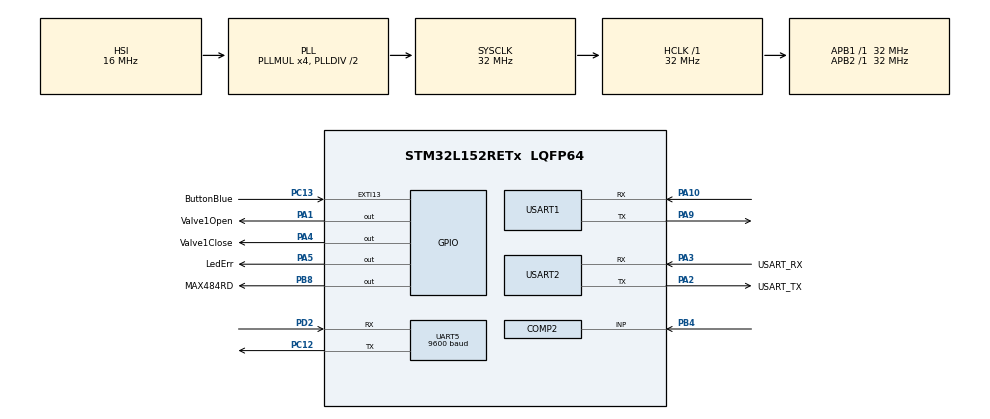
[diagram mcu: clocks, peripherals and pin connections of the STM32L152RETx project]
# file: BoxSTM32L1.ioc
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COMP1.NonInvertingInputPull=COMP_NONINVERTINGINPUT_NOPULL
COMP1.TriggerMode=COMP_TRIGGERMODE_IT_RISING
COMP2.InvertingInput=COMP_INVERTINGINPUT_1_2VREFINT
COMP2.TriggerMode=COMP_TRIGGERMODE_IT_RISING_FALLING
Dma.Request0=USART1_RX
Dma.USART1_RX.0.Direction=DMA_PERIPH_TO_MEMORY
Dma.USART1_RX.0.Instance=DMA1_Channel5
Dma.USART1_RX.0.MemDataAlignment=DMA_MDATAALIGN_BYTE
Dma.USART1_RX.0.MemInc=DMA_MINC_ENABLE
Dma.USART1_RX.0.Mode=DMA_CIRCULAR
Dma.USART1_RX.0.PeriphDataAlignment=DMA_PDATAALIGN_BYTE
Dma.USART1_RX.0.PeriphInc=DMA_PINC_DISABLE
Dma.USART1_RX.0.Priority=DMA_PRIORITY_VERY_HIGH
Mcu.Family=STM32L1
Mcu.Name=STM32L152RETx
Mcu.Package=LQFP64
NVIC.COMP_IRQn=true\:0\:0\:false\:false\:true
NVIC.DMA1_Channel5_IRQn=true\:0\:0\:false\:false\:true
NVIC.EXTI15_10_IRQn=true\:4\:0\:true\:false\:true
NVIC.PriorityGroup=NVIC_PRIORITYGROUP_4
NVIC.TIM2_IRQn=true\:3\:0\:true\:false\:true
NVIC.USART1_IRQn=true\:0\:0\:false\:false\:true
PA1.GPIO_Label=Valve1Open
PA1.GPIO_PuPd=GPIO_PULLDOWN
PA1.Signal=GPIO_Output
PA10.Mode=Asynchronous
PA10.Signal=USART1_RX
PA13.GPIO_Label=TMS
PA13.Signal=SYS_JTMS-SWDIO
PA14.GPIO_Label=TCK
PA14.Signal=SYS_JTCK-SWCLK
PA2.GPIO_Label=USART_TX
PA2.Mode=Asynchronous
PA2.Signal=USART2_TX
PA3.GPIO_Label=USART_RX
PA3.Mode=Asynchronous
PA3.Signal=USART2_RX
PA4.GPIO_Label=Valve1Close
PA4.GPIO_PuPd=GPIO_PULLDOWN
PA4.Signal=GPIO_Output
PA5.GPIO_Label=LedErr
PA5.Signal=GPIO_Output
PA9.Mode=Asynchronous
PA9.Signal=USART1_TX
PB3.GPIO_Label=SWO
PB3.Signal=SYS_JTDO-TRACESWO
PB4.Mode=INP
PB4.Signal=COMP2_INP
PB8.GPIO_Label=MAX484RD
PB8.GPIO_PuPd=GPIO_PULLDOWN
PB8.Signal=GPIO_Output
PC12.Mode=Asynchronous
PC12.Signal=UART5_TX
PC13-WKUP2.GPIO_Label=ButtonBlue
PC13-WKUP2.Signal=GPXTI13
PC14-OSC32_IN.Signal=RCC_OSC32_IN
PC15-OSC32_OUT.Signal=RCC_OSC32_OUT
PD2.Mode=Asynchronous
PD2.Signal=UART5_RX
PH0-OSC_IN.Signal=RCC_OSC_IN
PH1-OSC_OUT.Signal=RCC_OSC_OUT
ProjectManager.HeapSize=0x200
ProjectManager.StackSize=0x400
ProjectManager.TargetToolchain=SW4STM32
RCC.AHBFreq_Value=32000000
RCC.APB1Freq_Value=32000000
RCC.APB1TimFreq_Value=32000000
RCC.APB2Freq_Value=32000000
RCC.APB2TimFreq_Value=32000000
RCC.HCLKFreq_Value=32000000
RCC.HSE_VALUE=8000000
RCC.HSI_VALUE=16000000
RCC.LSE_VALUE=32768
RCC.MSI_VALUE=2097000
RCC.PLLMUL=RCC_PLL_MUL4
RCC.PLLSourceVirtual=RCC_PLLSOURCE_HSI
RCC.RTCClockSelectionVirtual=RCC_RTCCLKSOURCE_LSE
RCC.SYSCLKFreq_VALUE=32000000
RCC.SYSCLKSource=RCC_SYSCLKSOURCE_PLLCLK
RCC.USBOutput=32000000
RCC.VCOOutputFreq_Value=64000000
TIM2.Period=5000
TIM2.Prescaler=32000
UART5.BaudRate=9600
UART5.Parity=PARITY_EVEN
UART5.VirtualMode=Asynchronous
USART1.VirtualMode=VM_ASYNC
USART2.VirtualMode=VM_ASYNC
VP_COMP1_VS_WindowMode.Mode=WindowMode
VP_COMP2_VS_VREFINT12.Mode=VREFINT_12
VP_CRC_VS_CRC.Mode=CRC_Activate
VP_TIM2_VS_ClockSourceINT.Mode=Internal
board=NUCLEO-L152RE

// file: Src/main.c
// This is an independent project of an individual developer. Dear PVS-Studio, please check it.
// PVS-Studio Static Code Analyzer for C, C++ and C#: http://www.viva64.com

/**
 ******************************************************************************
 * File Name          : main.c
 * Description        : Main program body
 ******************************************************************************
 ** This notice applies to any and all portions of this file
 * that are not between comment pairs USER CODE BEGIN and
 * USER CODE END. Other portions of this file, whether
 * inserted by the user or by software development tools
 * are owned by their respective copyright owners.
 *
 * COPYRIGHT(c) 2017 STMicroelectronics
 *
 * Redistribution and use in source and binary forms, with or without modification,
 * are permitted provided that the following conditions are met:
 *   1. Redistributions of source code must retain the above copyright notice,
 *      this list of conditions and the following disclaimer.
 *   2. Redistributions in binary form must reproduce the above copyright notice,
 *      this list of conditions and the following disclaimer in the documentation
 *      and/or other materials provided with the distribution.
 *   3. Neither the name of STMicroelectronics nor the names of its contributors
 *      may be used to endorse or promote products derived from this software
 *      without specific prior written permission.
 *
 * THIS SOFTWARE IS PROVIDED BY THE COPYRIGHT HOLDERS AND CONTRIBUTORS "AS IS"
 * AND ANY EXPRESS OR IMPLIED WARRANTIES, INCLUDING, BUT NOT LIMITED TO, THE
 * IMPLIED WARRANTIES OF MERCHANTABILITY AND FITNESS FOR A PARTICULAR PURPOSE ARE
 * DISCLAIMED. IN NO EVENT SHALL THE COPYRIGHT HOLDER OR CONTRIBUTORS BE LIABLE
 * FOR ANY DIRECT, INDIRECT, INCIDENTAL, SPECIAL, EXEMPLARY, OR CONSEQUENTIAL
 * DAMAGES (INCLUDING, BUT NOT LIMITED TO, PROCUREMENT OF SUBSTITUTE GOODS OR
 * SERVICES; LOSS OF USE, DATA, OR PROFITS; OR BUSINESS INTERRUPTION) HOWEVER
 * CAUSED AND ON ANY THEORY OF LIABILITY, WHETHER IN CONTRACT, STRICT LIABILITY,
 * OR TORT (INCLUDING NEGLIGENCE OR OTHERWISE) ARISING IN ANY WAY OUT OF THE USE
 * OF THIS SOFTWARE, EVEN IF ADVISED OF THE POSSIBILITY OF SUCH DAMAGE.
 *
 ******************************************************************************
 */
#include "main.h"
#include "stm32l1xx_hal.h"

/* USER CODE BEGIN Includes */

#include "stm32l1xx_hal_uart.h"
#include "config.h"
#include "transceiver.h"
#include "xprint.h"
#if WATER_METER
	#include "meters/water_meter.h"
#endif
#if ELECTRO_METER
	#include "meters/electro_meter.h"
#endif
#include "storage.h"
#include <stdbool.h>

/* USER CODE END Includes */

COMP_HandleTypeDef hcomp1;
COMP_HandleTypeDef hcomp2;

CRC_HandleTypeDef hcrc;

TIM_HandleTypeDef htim2;

UART_HandleTypeDef huart5;
UART_HandleTypeDef huart1;
UART_HandleTypeDef huart2;
DMA_HandleTypeDef hdma_usart1_rx;

static bool valveOpen; // текущее состояние вентеля
#define STORAGE_SIZE 32
#define STORAGE_WATER_COUNTER 0
#define STORAGE_VALVE_STATUS 4

/* USER CODE BEGIN PV */
/* Private variables ---------------------------------------------------------*/
static volatile bool sendMeterData = 0;
/* USER CODE END PV */

void SystemClock_Config(void);
static void MX_GPIO_Init(void);
static void MX_DMA_Init(void);
static void MX_TIM2_Init(void);
static void MX_USART2_UART_Init(void);
static void MX_UART5_Init(void);
static void MX_COMP2_Init(void);
static void MX_COMP1_Init(void);
static void MX_CRC_Init(void);
static void MX_USART1_UART_Init(void);

/* USER CODE BEGIN PFP */

/* Private function prototypes -----------------------------------------------*/
static void setValveOpen(bool open) {
	if (open) {
		LOG("Open the valve");
		HAL_GPIO_WritePin(Valve1Close_GPIO_Port, Valve1Close_Pin, GPIO_PIN_RESET);
		HAL_GPIO_WritePin(Valve1Open_GPIO_Port, Valve1Open_Pin, GPIO_PIN_SET);

	} else {
		LOG("Close the valve");
		HAL_GPIO_WritePin(Valve1Open_GPIO_Port, Valve1Open_Pin, GPIO_PIN_RESET);
		HAL_GPIO_WritePin(Valve1Close_GPIO_Port, Valve1Close_Pin, GPIO_PIN_SET);
	}
	valveOpen = open;
	STORAGE_WriteWord(STORAGE_VALVE_STATUS, valveOpen);

}
/* USER CODE END PFP */

int main(void) {

	/* USER CODE BEGIN 1 */
	//
	/* USER CODE END 1 */

	/* MCU Configuration----------------------------------------------------------*/

	/* Reset of all peripherals, Initializes the Flash interface and the Systick. */
	HAL_Init();

	/* Configure the system clock */
	SystemClock_Config();

	/* Initialize all configured peripherals */
	MX_GPIO_Init();
	MX_DMA_Init();
	MX_TIM2_Init();
	MX_USART2_UART_Init();
	MX_UART5_Init();
	MX_COMP2_Init();
	MX_COMP1_Init();
	MX_CRC_Init();
	MX_USART1_UART_Init();

	/* USER CODE BEGIN 2 */
#if X_PRINT_LOG
	//	xprint_init_SWO();
	xprint_init_UART(&huart2);
	LOG("Start Box ID:0x%x DEVID:0x%x REVID:0x%x HAL:0x%x", CONFIG_ID, HAL_GetDEVID(), HAL_GetREVID(), HAL_GetHalVersion());
#endif

	STORAGE_Init(32);
	PACK_Init(&hcrc);

	//Инициализируем радио модуль
	TRANSConfig transConf = {
		.hUART = &huart1,
		.localAddress = CONFIG_LOCAL_ADDRESS,
	};
	TRANS_Init(transConf);

	valveOpen = STORAGE_ReadWord(STORAGE_VALVE_STATUS);
	setValveOpen(valveOpen);
#if WATER_METER
	uint32_t storedWaterCounter = STORAGE_ReadWord(STORAGE_WATER_COUNTER);
	//Инициализируем счётчик воды
	WaterMeterConfig wmConf = {
		.pComp1 = &hcomp1,
		.pComp2 = &hcomp2,
		.beginValue = storedWaterCounter
	};
	WaterMeter_Init(wmConf);
#endif

#if ELECTRO_METER
	//Инициализируем счётчик электричества
	ElectroMeterConfig emConf = {
		.hUART = &huart5,
		.portMAX484 = MAX484RD_GPIO_Port,
		.pinRD = MAX484RD_Pin,
		.password = "777777"
	};
	ElectroMeter_Init(emConf);
#endif

	//запускаем таймер
	HAL_TIM_Base_Start_IT(&htim2);

	/* USER CODE END 2 */

	/* Infinite loop */
	while (1) {

		/* USER CODE BEGIN 3 */
		//обрабатываем принятые по сети пакеты
		TRANS_ProcessPackage();

		if (sendMeterData == true) { // нужно отправить показания
			TRANSDataMeters meters = {
				{.type = TRANS_METER_TYPE_NONE, .value = 0},
				{.type = TRANS_METER_TYPE_NONE, .value = 0},
				{.type = TRANS_METER_TYPE_NONE, .value = 0},
				{.valve = valveOpen}
			};

#if WATER_METER
			if (!WaterMeter_getError()) {
				uint32_t waterValue = WaterMeter_getValue();
				meters.value2 = (TRANSDataMeterValue){.type = TRANS_METER_TYPE_WATER_IMPULS, .value = waterValue};
				uint32_t storedValue = STORAGE_ReadWord(STORAGE_WATER_COUNTER);
				if (waterValue > storedValue) {
					LOG("STORAGE save water value: %d ", waterValue);
					STORAGE_WriteWord(STORAGE_WATER_COUNTER, waterValue);
				}
			} else {
				LOG("Water meter not connect");
			}
#endif

#if ELECTRO_METER
			ElectroMeterValues values = ElectroMeter_GetValues();
			if (!values.error) {
				//LOG("Electro values: t1=%d t2=%d t3=%d t4=%d ", values.tariff1, values.tariff2, values.tariff3, values.tariff4);
				meters.value0 = (TRANSDataMeterValue){.type = TRANS_METER_TYPE_ELECTRO_T1, .value = values.tariff1};
				meters.value1 = (TRANSDataMeterValue){.type = TRANS_METER_TYPE_ELECTRO_T2, .value = values.tariff2};
			} else {
				LOG("Electro meter not connect");
			}
#endif

			TRANS_SendDataMeters(CONFIG_GATE_ADDRESS, &meters);
			sendMeterData = false;
		}
		//		HAL_PWR_EnterSLEEPMode(PWR_MAINREGULATOR_ON, PWR_SLEEPENTRY_WFI);
		//		HAL_PWR_EnterSTOPMode(PWR_MAINREGULATOR_ON, PWR_SLEEPENTRY_WFI);

	}
	/* USER CODE END 3 */

}

/** System Clock Configuration
 */
void SystemClock_Config(void) {

	RCC_OscInitTypeDef RCC_OscInitStruct;
	RCC_ClkInitTypeDef RCC_ClkInitStruct;

	/**Configure the main internal regulator output voltage
	 */
	__HAL_PWR_VOLTAGESCALING_CONFIG(PWR_REGULATOR_VOLTAGE_SCALE1);

	/**Initializes the CPU, AHB and APB busses clocks
	 */
	RCC_OscInitStruct.OscillatorType = RCC_OSCILLATORTYPE_HSI;
	RCC_OscInitStruct.HSIState = RCC_HSI_ON;
	RCC_OscInitStruct.HSICalibrationValue = 16;
	RCC_OscInitStruct.PLL.PLLState = RCC_PLL_ON;
	RCC_OscInitStruct.PLL.PLLSource = RCC_PLLSOURCE_HSI;
	RCC_OscInitStruct.PLL.PLLMUL = RCC_PLL_MUL4;
	RCC_OscInitStruct.PLL.PLLDIV = RCC_PLL_DIV2;
	if (HAL_RCC_OscConfig(&RCC_OscInitStruct) != HAL_OK) {
		_Error_Handler(__FILE__, __LINE__);
	}

	/**Initializes the CPU, AHB and APB busses clocks
	 */
	RCC_ClkInitStruct.ClockType = RCC_CLOCKTYPE_HCLK | RCC_CLOCKTYPE_SYSCLK
			| RCC_CLOCKTYPE_PCLK1 | RCC_CLOCKTYPE_PCLK2;
	RCC_ClkInitStruct.SYSCLKSource = RCC_SYSCLKSOURCE_PLLCLK;
	RCC_ClkInitStruct.AHBCLKDivider = RCC_SYSCLK_DIV1;
	RCC_ClkInitStruct.APB1CLKDivider = RCC_HCLK_DIV1;
	RCC_ClkInitStruct.APB2CLKDivider = RCC_HCLK_DIV1;

	if (HAL_RCC_ClockConfig(&RCC_ClkInitStruct, FLASH_LATENCY_1) != HAL_OK) {
		_Error_Handler(__FILE__, __LINE__);
	}

	/**Configure the Systick interrupt time
	 */
	HAL_SYSTICK_Config(HAL_RCC_GetHCLKFreq() / 1000);

	/**Configure the Systick
	 */
	HAL_SYSTICK_CLKSourceConfig(SYSTICK_CLKSOURCE_HCLK);

	/* SysTick_IRQn interrupt configuration */
	HAL_NVIC_SetPriority(SysTick_IRQn, 0, 0);
}

/* COMP1 init function */
static void MX_COMP1_Init(void) {

	hcomp1.Instance = COMP1;
	hcomp1.Init.NonInvertingInput = COMP_NONINVERTINGINPUT_NONE;
	hcomp1.Init.TriggerMode = COMP_TRIGGERMODE_IT_RISING;
	hcomp1.Init.NonInvertingInputPull = COMP_NONINVERTINGINPUT_NOPULL;
	if (HAL_COMP_Init(&hcomp1) != HAL_OK) {
		_Error_Handler(__FILE__, __LINE__);
	}

}

/* COMP2 init function */
static void MX_COMP2_Init(void) {

	hcomp2.Instance = COMP2;
	hcomp2.Init.InvertingInput = COMP_INVERTINGINPUT_1_2VREFINT;
	hcomp2.Init.NonInvertingInput = COMP_NONINVERTINGINPUT_PB4;
	hcomp2.Init.Output = COMP_OUTPUT_NONE;
	hcomp2.Init.Mode = COMP_MODE_LOWSPEED;
	hcomp2.Init.WindowMode = COMP_WINDOWMODE_ENABLE;
	hcomp2.Init.TriggerMode = COMP_TRIGGERMODE_IT_RISING_FALLING;
	if (HAL_COMP_Init(&hcomp2) != HAL_OK) {
		_Error_Handler(__FILE__, __LINE__);
	}

}

/* CRC init function */
static void MX_CRC_Init(void) {

	hcrc.Instance = CRC;
	if (HAL_CRC_Init(&hcrc) != HAL_OK) {
		_Error_Handler(__FILE__, __LINE__);
	}

}

/* TIM2 init function */
static void MX_TIM2_Init(void) {

	TIM_ClockConfigTypeDef sClockSourceConfig;
	TIM_MasterConfigTypeDef sMasterConfig;

	htim2.Instance = TIM2;
	htim2.Init.Prescaler = 32000;
	htim2.Init.CounterMode = TIM_COUNTERMODE_UP;
	htim2.Init.Period = 5000;
	htim2.Init.ClockDivision = TIM_CLOCKDIVISION_DIV1;
	if (HAL_TIM_Base_Init(&htim2) != HAL_OK) {
		_Error_Handler(__FILE__, __LINE__);
	}

	sClockSourceConfig.ClockSource = TIM_CLOCKSOURCE_INTERNAL;
	if (HAL_TIM_ConfigClockSource(&htim2, &sClockSourceConfig) != HAL_OK) {
		_Error_Handler(__FILE__, __LINE__);
	}

	sMasterConfig.MasterOutputTrigger = TIM_TRGO_RESET;
	sMasterConfig.MasterSlaveMode = TIM_MASTERSLAVEMODE_DISABLE;
	if (HAL_TIMEx_MasterConfigSynchronization(&htim2, &sMasterConfig) != HAL_OK) {
		_Error_Handler(__FILE__, __LINE__);
	}

}

/* UART5 init function */
static void MX_UART5_Init(void) {

	huart5.Instance = UART5;
	huart5.Init.BaudRate = 9600;
	huart5.Init.WordLength = UART_WORDLENGTH_8B;
	huart5.Init.StopBits = UART_STOPBITS_1;
	huart5.Init.Parity = UART_PARITY_EVEN;
	huart5.Init.Mode = UART_MODE_TX_RX;
	huart5.Init.HwFlowCtl = UART_HWCONTROL_NONE;
	huart5.Init.OverSampling = UART_OVERSAMPLING_16;
	if (HAL_UART_Init(&huart5) != HAL_OK) {
		_Error_Handler(__FILE__, __LINE__);
	}

}

/* USART1 init function */
static void MX_USART1_UART_Init(void) {

	huart1.Instance = USART1;
	huart1.Init.BaudRate = 115200;
	huart1.Init.WordLength = UART_WORDLENGTH_8B;
	huart1.Init.StopBits = UART_STOPBITS_1;
	huart1.Init.Parity = UART_PARITY_NONE;
	huart1.Init.Mode = UART_MODE_TX_RX;
	huart1.Init.HwFlowCtl = UART_HWCONTROL_NONE;
	huart1.Init.OverSampling = UART_OVERSAMPLING_16;
	if (HAL_UART_Init(&huart1) != HAL_OK) {
		_Error_Handler(__FILE__, __LINE__);
	}

}

/* USART2 init function */
static void MX_USART2_UART_Init(void) {

	huart2.Instance = USART2;
	huart2.Init.BaudRate = 115200;
	huart2.Init.WordLength = UART_WORDLENGTH_8B;
	huart2.Init.StopBits = UART_STOPBITS_1;
	huart2.Init.Parity = UART_PARITY_NONE;
	huart2.Init.Mode = UART_MODE_TX_RX;
	huart2.Init.HwFlowCtl = UART_HWCONTROL_NONE;
	huart2.Init.OverSampling = UART_OVERSAMPLING_16;
	if (HAL_UART_Init(&huart2) != HAL_OK) {
		_Error_Handler(__FILE__, __LINE__);
	}

}

static void MX_DMA_Init(void) {
	/* DMA controller clock enable */
	__HAL_RCC_DMA1_CLK_ENABLE();

	/* DMA interrupt init */
	/* DMA1_Channel5_IRQn interrupt configuration */
	HAL_NVIC_SetPriority(DMA1_Channel5_IRQn, 0, 0);
	HAL_NVIC_EnableIRQ(DMA1_Channel5_IRQn);

}

/** Configure pins as
 * Analog
 * Input
 * Output
 * EVENT_OUT
 * EXTI
 */
static void MX_GPIO_Init(void) {

	GPIO_InitTypeDef GPIO_InitStruct;

	/* GPIO Ports Clock Enable */
	__HAL_RCC_GPIOC_CLK_ENABLE();
	__HAL_RCC_GPIOH_CLK_ENABLE();
	__HAL_RCC_GPIOA_CLK_ENABLE();
	__HAL_RCC_GPIOD_CLK_ENABLE();
	__HAL_RCC_GPIOB_CLK_ENABLE();

	/*Configure GPIO pin Output Level */
	HAL_GPIO_WritePin(GPIOA, Valve1Open_Pin | Valve1Close_Pin | LedErr_Pin, GPIO_PIN_RESET);

	/*Configure GPIO pin Output Level */
	HAL_GPIO_WritePin(MAX484RD_GPIO_Port, MAX484RD_Pin, GPIO_PIN_RESET);

	/*Configure GPIO pin : ButtonBlue_Pin */
	GPIO_InitStruct.Pin = ButtonBlue_Pin;
	GPIO_InitStruct.Mode = GPIO_MODE_IT_RISING;
	GPIO_InitStruct.Pull = GPIO_NOPULL;
	HAL_GPIO_Init(ButtonBlue_GPIO_Port, &GPIO_InitStruct);

	/*Configure GPIO pins : Valve1Open_Pin Valve1Close_Pin */
	GPIO_InitStruct.Pin = Valve1Open_Pin | Valve1Close_Pin;
	GPIO_InitStruct.Mode = GPIO_MODE_OUTPUT_PP;
	GPIO_InitStruct.Pull = GPIO_PULLDOWN;
	GPIO_InitStruct.Speed = GPIO_SPEED_FREQ_LOW;
	HAL_GPIO_Init(GPIOA, &GPIO_InitStruct);

	/*Configure GPIO pin : LedErr_Pin */
	GPIO_InitStruct.Pin = LedErr_Pin;
	GPIO_InitStruct.Mode = GPIO_MODE_OUTPUT_PP;
	GPIO_InitStruct.Pull = GPIO_NOPULL;
	GPIO_InitStruct.Speed = GPIO_SPEED_FREQ_LOW;
	HAL_GPIO_Init(LedErr_GPIO_Port, &GPIO_InitStruct);

	/*Configure GPIO pin : MAX484RD_Pin */
	GPIO_InitStruct.Pin = MAX484RD_Pin;
	GPIO_InitStruct.Mode = GPIO_MODE_OUTPUT_PP;
	GPIO_InitStruct.Pull = GPIO_PULLDOWN;
	GPIO_InitStruct.Speed = GPIO_SPEED_FREQ_LOW;
	HAL_GPIO_Init(MAX484RD_GPIO_Port, &GPIO_InitStruct);

	/* EXTI interrupt init*/
	HAL_NVIC_SetPriority(EXTI15_10_IRQn, 4, 0);
	HAL_NVIC_EnableIRQ(EXTI15_10_IRQn);

}

/* USER CODE BEGIN 4 */

void HAL_UART_RxCpltCallback(UART_HandleTypeDef* huart) {
	TRANS_UART_RxCpltCallback(huart);
}

void HAL_UART_RxHalfCpltCallback(UART_HandleTypeDef* huart) {
	TRANS_UART_RxHalfCpltCallback(huart);
}

void HAL_TIM_PeriodElapsedCallback(TIM_HandleTypeDef *htim) {
	sendMeterData = true;

}

void TRANS_OnProcessPackage(TRANSPackage* pPackage) {
	//	LOG("OnReceivePackage: source:0x%x type:%d", pPackage->sourceAddress, pPackage->type);
	if (pPackage->type == TRANS_TYPE_COMMAND) {
		uint32_t command = pPackage->data.command.command;
		uint32_t valve = pPackage->data.command.parametr1;
		//		uint32_t p2 = pPackage->data.command.parametr2;
		if (valve == 1) {
			switch (command) {
				case TRANS_COMMAND_VALVE_OPEN:
					setValveOpen(true);
					break;
				case TRANS_COMMAND_VALVE_CLOSE:
					setValveOpen(false);
					break;
				case TRANS_COMMAND_RESET:
					LOG("System reset");
					HAL_NVIC_SystemReset();
				default:
					break;
			}
		}

	}
}

void HAL_GPIO_EXTI_Callback(uint16_t GPIO_Pin) {
	if (GPIO_Pin == ButtonBlue_Pin) {
		HAL_GPIO_TogglePin(LedErr_GPIO_Port, LedErr_Pin);
		LOG("Toggle error led");

		TRANSStatus status = TRANS_GetStatus();
		LOG("TRANSStatus: good:%d bad:%d", status.countGoodPackage, status.countBadPackage);
	}
}

void inline LedErrorSet() {
	HAL_GPIO_WritePin(LedErr_GPIO_Port, LedErr_Pin, GPIO_PIN_SET);
}

void inline LedErrorSoftWhile() {
	while (1) {
		HAL_GPIO_TogglePin(LedErr_GPIO_Port, LedErr_Pin);
		HAL_Delay(2000);
	}
}

void inline LedErrorHardWhile() {
	while (1) {
		HAL_GPIO_TogglePin(LedErr_GPIO_Port, LedErr_Pin);
		HAL_Delay(500);
	}
}

void HAL_UART_ErrorCallback(UART_HandleTypeDef* huart) {
	uint32_t uartErrorCode = HAL_UART_GetError(huart);
	LOGERR("UART 0x%x Error 0x%x", huart->Instance, uartErrorCode);
	//SEE HAL_UART_ERROR_
	LedErrorSet();
}

void TRANS_OnError(TRANSStatus status) {
	LOGERR("TRANS Error: "
			"lastError:0x%x "
			"lastTransmitStatus:0x%x "
			//"overflowQueueCount:%d",
			"countGoodPackage:%d "
			"countBadPackage:%d",
			status.lastError,
			status.lastTransmitStatus,
			//status.overflowQueueCount
			status.countGoodPackage,
			status.countBadPackage
			);
	LedErrorSet();
}

/* USER CODE END 4 */

void _Error_Handler(char * file, int line) {
	/* USER CODE BEGIN Error_Handler_Debug */
	LOGERR("HAL Error_Handler %s:%d", file, line);
	LedErrorSoftWhile();
	/* User can add his own implementation to report the HAL error return state */
	while (1) {
	}
	/* USER CODE END Error_Handler_Debug */
}

#ifdef USE_FULL_ASSERT

/**
 * @brief Reports the name of the source file and the source line number
 * where the assert_param error has occurred.
 * @param file: pointer to the source file name
 * @param line: assert_param error line source number
 * @retval None
 */
void assert_failed(uint8_t* file, uint32_t line) {
	/* USER CODE BEGIN 6 */
	/* User can add his own implementation to report the file name and line number,
	  ex: printf("Wrong parameters value: file %s on line %d\r\n", file, line) */
	LOG("assert_failed: Wrong parameters value: file %s on line %d\r\n", file, line);
	LedErrorSoftWhile();
	/* USER CODE END 6 */

}

#endif

/************************ (C) COPYRIGHT STMicroelectronics *****END OF FILE****/
